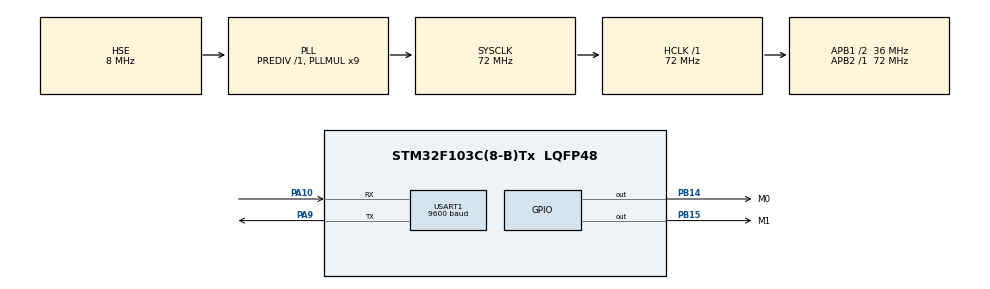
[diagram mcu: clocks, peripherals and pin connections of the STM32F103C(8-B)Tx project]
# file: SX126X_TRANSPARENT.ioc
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Mcu.Family=STM32F1
Mcu.Name=STM32F103C(8-B)Tx
Mcu.Package=LQFP48
NVIC.PriorityGroup=NVIC_PRIORITYGROUP_4
NVIC.USART1_IRQn=true\:0\:0\:false\:false\:true\:true\:true
PA10.Mode=Asynchronous
PA10.Signal=USART1_RX
PA13.Mode=Trace_Asynchronous_SW
PA13.Signal=SYS_JTMS-SWDIO
PA14.Mode=Trace_Asynchronous_SW
PA14.Signal=SYS_JTCK-SWCLK
PA9.Mode=Asynchronous
PA9.Signal=USART1_TX
PB14.GPIO_Label=M0
PB14.GPIO_PuPd=GPIO_PULLUP
PB14.GPIO_Speed=GPIO_SPEED_FREQ_HIGH
PB14.PinState=GPIO_PIN_SET
PB14.Signal=GPIO_Output
PB15.GPIO_Label=M1
PB15.GPIO_PuPd=GPIO_PULLUP
PB15.GPIO_Speed=GPIO_SPEED_FREQ_HIGH
PB15.PinState=GPIO_PIN_SET
PB15.Signal=GPIO_Output
PB3.Mode=Trace_Asynchronous_SW
PB3.Signal=SYS_JTDO-TRACESWO
PD0-OSC_IN.Mode=HSE-External-Oscillator
PD0-OSC_IN.Signal=RCC_OSC_IN
PD1-OSC_OUT.Mode=HSE-External-Oscillator
PD1-OSC_OUT.Signal=RCC_OSC_OUT
ProjectManager.HeapSize=0x200
ProjectManager.StackSize=0x400
ProjectManager.TargetToolchain=MDK-ARM V5
RCC.AHBFreq_Value=72000000
RCC.APB1CLKDivider=RCC_HCLK_DIV2
RCC.APB1Freq_Value=36000000
RCC.APB1TimFreq_Value=72000000
RCC.APB2Freq_Value=72000000
RCC.APB2TimFreq_Value=72000000
RCC.HCLKFreq_Value=72000000
RCC.PLLMUL=RCC_PLL_MUL9
RCC.PLLSourceVirtual=RCC_PLLSOURCE_HSE
RCC.SYSCLKFreq_VALUE=72000000
RCC.SYSCLKSource=RCC_SYSCLKSOURCE_PLLCLK
RCC.USBFreq_Value=72000000
USART1.BaudRate=9600
USART1.VirtualMode=VM_ASYNC
board=custom

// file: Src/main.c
/* USER CODE BEGIN Header */
/**
  ******************************************************************************
  * @file           : main.c
  * @brief          : Main program body
  ******************************************************************************
  * @attention
  *
  * <h2><center>&copy; Copyright (c) 2019 STMicroelectronics.
  * All rights reserved.</center></h2>
  *
  * This software component is licensed by ST under BSD 3-Clause license,
  * the "License"; You may not use this file except in compliance with the
  * License. You may obtain a copy of the License at:
  *                        opensource.org/licenses/BSD-3-Clause
  *
  ******************************************************************************
  */
/* USER CODE END Header */
#include "main.h"
#include "usart.h"
#include "gpio.h"

/* USER CODE BEGIN Includes */
#include "gpio.h"
#include "usart.h"
#include "sx126x_lora_hat.h"
/* USER CODE END Includes */

/* USER CODE BEGIN PV */
uint8_t init_cplt_flag = ERROR;
uint8_t over_flag = ERROR;
uint8_t rece_buff;
uint8_t rece_count = 3;
uint8_t buffer[MAX_BYTES];
/* USER CODE END PV */

void SystemClock_Config(void);

int main(void)
{
  /* USER CODE BEGIN 1 */
#define TRASNSPARENT
//#define RELAY
//#define WOR

#ifdef TRASNSPARENT
	uint8_t transparent_string[] = "This is a transparent message\r\n";
#elif defined RELAY
	uint8_t relay_string[] = "This is a relay message\r\n";
#elif defined WOR
	uint8_t wor_string[] = "This is a wor message\r\n";
#endif
	uint32_t delay;
  /* USER CODE END 1 */

  /* MCU Configuration--------------------------------------------------------*/

  /* Reset of all peripherals, Initializes the Flash interface and the Systick. */
  HAL_Init();

  /* Configure the system clock */
  SystemClock_Config();

  /* Initialize all configured peripherals */
  MX_GPIO_Init();
  MX_USART1_UART_Init();
  /* USER CODE BEGIN 2 */
	HAL_Delay(1000); //dont delete wait for lora reset
#ifdef TRASNSPARENT
	while(ERROR == cfg_sx126x_mode(TRANSPARENT_MODE)){
		HAL_Delay(500);
	}
#elif defined RELAY
	while(ERROR == cfg_sx126x_mode(RELAY_MODE)){
			HAL_Delay(500);
	}
#elif defined WOR
	while(ERROR == cfg_sx126x_mode(WOR_TRANSMISSION_MODE)){
		HAL_Delay(500);
	}
#endif
	HAL_Delay(100);
	HAL_UART_Receive_IT(&huart1,(uint8_t *)&rece_buff,1);
  /* USER CODE END 2 */

  /* Infinite loop */
  while (1)
  {

    /* USER CODE BEGIN 3 */

#ifdef TRASNSPARENT
		if(delay++>18000000){
			HAL_UART_Transmit_IT(&huart1,transparent_string,strlen((const char *)transparent_string));
			delay = 0;
		}
#elif defined	RELAY
		if(delay++>18000000){
			HAL_UART_Transmit_IT(&huart1,relay_string,strlen((const char *)relay_string));
			delay = 0;
		}
#elif defined WOR
		if(delay++>18000000){
			delay = 0;
			HAL_UART_Transmit_IT(&huart1,wor_string,strlen((const char *)wor_string));
			HAL_GPIO_WritePin(GPIOA,GPIO_PIN_1,GPIO_PIN_SET);
			while(delay++<30000);
			HAL_GPIO_WritePin(GPIOA,GPIO_PIN_1,GPIO_PIN_RESET);
			delay = 0;
		}
#endif

		if(SUCCESS == over_flag){
			HAL_UART_Transmit_IT(&huart1,buffer,strlen((const char *)buffer));
			over_flag = ERROR;
			rece_count = 0;
			HAL_UART_Receive_IT(&huart1,(uint8_t *)&rece_buff,1);
		}
  }
  /* USER CODE END 3 */
}

void SystemClock_Config(void)
{
  RCC_OscInitTypeDef RCC_OscInitStruct = {0};
  RCC_ClkInitTypeDef RCC_ClkInitStruct = {0};

  /** Initializes the RCC Oscillators according to the specified parameters
  * in the RCC_OscInitTypeDef structure.
  */
  RCC_OscInitStruct.OscillatorType = RCC_OSCILLATORTYPE_HSE;
  RCC_OscInitStruct.HSEState = RCC_HSE_ON;
  RCC_OscInitStruct.HSEPredivValue = RCC_HSE_PREDIV_DIV1;
  RCC_OscInitStruct.HSIState = RCC_HSI_ON;
  RCC_OscInitStruct.PLL.PLLState = RCC_PLL_ON;
  RCC_OscInitStruct.PLL.PLLSource = RCC_PLLSOURCE_HSE;
  RCC_OscInitStruct.PLL.PLLMUL = RCC_PLL_MUL9;
  if (HAL_RCC_OscConfig(&RCC_OscInitStruct) != HAL_OK)
  {
    Error_Handler();
  }
  /** Initializes the CPU, AHB and APB buses clocks
  */
  RCC_ClkInitStruct.ClockType = RCC_CLOCKTYPE_HCLK|RCC_CLOCKTYPE_SYSCLK
                              |RCC_CLOCKTYPE_PCLK1|RCC_CLOCKTYPE_PCLK2;
  RCC_ClkInitStruct.SYSCLKSource = RCC_SYSCLKSOURCE_PLLCLK;
  RCC_ClkInitStruct.AHBCLKDivider = RCC_SYSCLK_DIV1;
  RCC_ClkInitStruct.APB1CLKDivider = RCC_HCLK_DIV2;
  RCC_ClkInitStruct.APB2CLKDivider = RCC_HCLK_DIV1;

  if (HAL_RCC_ClockConfig(&RCC_ClkInitStruct, FLASH_LATENCY_2) != HAL_OK)
  {
    Error_Handler();
  }
}

void Error_Handler(void)
{
}

/************************ (C) COPYRIGHT STMicroelectronics *****END OF FILE****/
